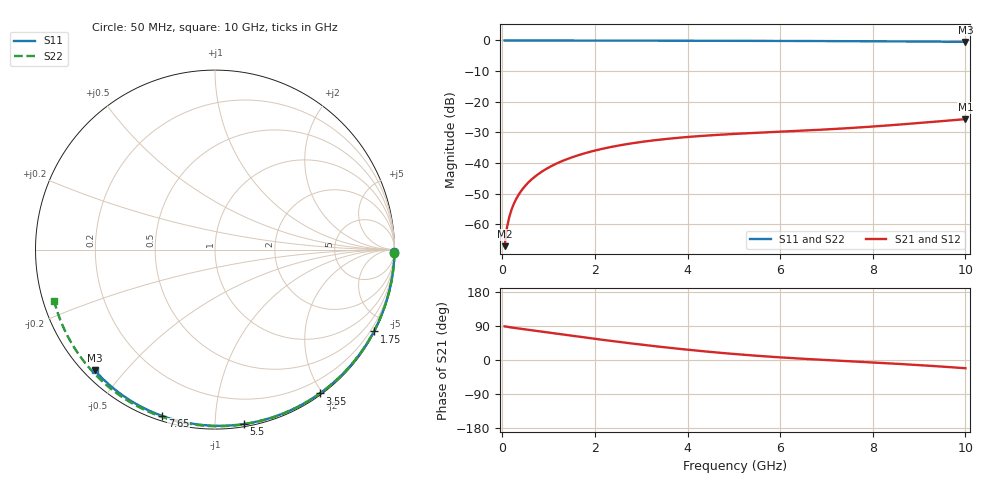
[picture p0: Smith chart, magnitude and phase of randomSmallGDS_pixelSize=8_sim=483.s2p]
! freq	dB(S11)	phase(S11)	dB(S12)	phase(S12)
!  dB(S21)	phase(S21)	dB(S22)	phase(S22)
!S-par simulation data
#  GHz  S  DB  R 50
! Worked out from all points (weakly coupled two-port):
!   200 points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, 50 MHz to 10 GHz, reference 50 ohm
!   highest |S21| = -25.67 dB at 10 GHz (marker M1); lowest = -67.1 dB at 50 MHz (marker M2)
!   lowest |S11| = -0.5 dB at 10 GHz (marker M3), VSWR 38.37, Z = 1.53 - j20.8 ohm
!   |S11| at or under -10 dB: nowhere
!   |S22| runs from -0.5 to 0.0 dB; largest |S21 - S12| = 0
!   S11 on the Smith chart (normalised r, x): 50 MHz: open; 1.75 GHz: 0.04, -4.13; 3.55 GHz: 0.02, -1.97; 5.5 GHz: 0.02, -1.18; 7.65 GHz: 0.02, -0.73; 10 GHz: 0.03, -0.42
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0.05  -0.00 -0.8  -67.13 88.8  -67.13 88.8  -0.00 -1.0
0.1  -0.00 -1.6  -61.13 87.7  -61.13 87.7  -0.00 -1.9
0.15  -0.00 -2.4  -57.65 86.7  -57.65 86.7  -0.00 -2.9
0.2  -0.00 -3.2  -55.18 85.7  -55.18 85.7  -0.00 -3.9
0.25  -0.00 -4.0  -53.28 84.9  -53.28 84.9  -0.00 -4.8
0.35  -0.00 -5.5  -50.40 83.2  -50.40 83.2  -0.01 -6.8
0.5  -0.01 -7.9  -47.35 80.7  -47.35 80.7  -0.01 -9.6
0.7  -0.01 -11.0  -44.49 77.4  -44.49 77.4  -0.02 -13.5
1  -0.02 -15.7  -41.48 72.4  -41.48 72.4  -0.02 -19.2
1.35  -0.03 -21.1  -39.01 66.5  -39.01 66.5  -0.03 -25.7
1.75  -0.04 -27.3  -36.94 59.9  -36.94 59.9  -0.04 -33.2
2.6  -0.05 -40.1  -34.05 46.5  -34.05 46.5  -0.06 -48.6
3.4  -0.07 -51.8  -32.37 35.0  -32.37 35.0  -0.08 -62.7
3.55  -0.07 -53.9  -32.13 33.0  -32.13 33.0  -0.09 -65.2
4.3  -0.09 -64.5  -31.16 23.6  -31.16 23.6  -0.11 -77.8
5.05  -0.12 -74.7  -30.46 15.4  -30.46 15.4  -0.14 -89.8
5.5  -0.13 -80.6  -30.12 11.2  -30.12 11.2  -0.16 -96.9
6.7  -0.19 -95.9  -29.27 1.8  -29.27 1.8  -0.22 -114.9
7.65  -0.24 -107.5  -28.44 -4.3  -28.44 -4.3  -0.29 -128.7
8.35  -0.29 -115.8  -27.70 -8.8  -27.70 -8.8  -0.35 -138.7
9.2  -0.37 -125.7  -26.69 -15.0  -26.69 -15.0  -0.44 -150.8
10  -0.45 -134.8  -25.67 -21.7  -25.67 -21.7  -0.53 -162.4
